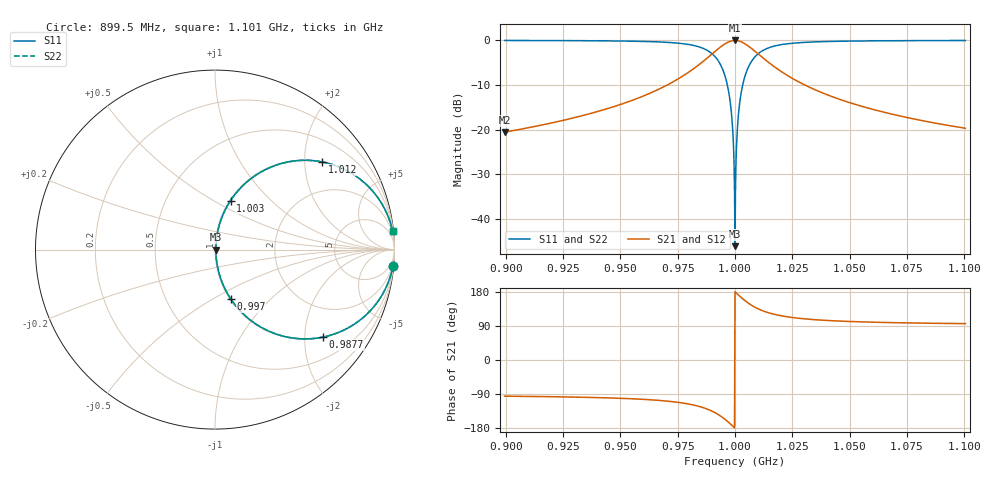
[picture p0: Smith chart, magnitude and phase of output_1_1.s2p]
! File generated for n1 = 1, n2 = 1
! b1 = 100.000000
! b2 = 100.000000
! Q0 = 10000.000000
! f0 = 1000000000.000000
! n = 1001
! rel_span = 10.000000
# Hz S RI R 50
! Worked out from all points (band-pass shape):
!   1001 points, 899.5 MHz to 1.101 GHz, reference 50 ohm
!   highest |S21| = -0.04 dB at 1 GHz (marker M1); lowest = -20.6 dB at 899.5 MHz (marker M2)
!   |S21| within 3 dB of the highest: 990 MHz to 1.01 GHz (20.05 MHz wide, 2.01 % of centre)
!   lowest |S11| = -46.1 dB at 1 GHz (marker M3), VSWR 1.01, Z = 50.5 + j0 ohm
!   |S11| at or under -10 dB: 996.7 MHz to 1.003 GHz (6.702 MHz wide, 0.67 % of centre)
!   |S22| runs from -46.1 to 0.0 dB; largest |S21 - S12| = 0
!   S11 on the Smith chart (normalised r, x): 899.5 MHz: 1, -21; 987.7 MHz: 1.01, -2.47; 997 MHz: 1.01, -0.60; 1.003 GHz: 1.01, +0.60; 1.012 GHz: 1.01, +2.44; 1.101 GHz: 1, +19
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8.995e8  0.9912 -0.0934  -0.00885 -0.0934  -0.00885 -0.0934  0.9912 -0.0934
9.33067e8  0.9795 -0.1413  -0.0205 -0.1413  -0.0205 -0.1413  0.9795 -0.1413
9.66634e8  0.9198 -0.2709  -0.0802 -0.2709  -0.0802 -0.2709  0.9198 -0.2709
9.79498e8  0.8104 -0.3907  -0.1896 -0.3907  -0.1896 -0.3907  0.8104 -0.3907
9.87739e8  0.6031 -0.4872  -0.3969 -0.4872  -0.3969 -0.4872  0.6031 -0.4872
9.93568e8  0.2954 -0.4524  -0.7046 -0.4524  -0.7046 -0.4524  0.2954 -0.4524
9.95578e8  0.167 -0.3673  -0.833 -0.3673  -0.833 -0.3673  0.167 -0.3673
9.96985e8  0.0874 -0.2742  -0.9126 -0.2742  -0.9126 -0.2742  0.0874 -0.2742
9.98191e8  0.0363 -0.1736  -0.9637 -0.1736  -0.9637 -0.1736  0.0363 -0.1736
9.98593e8  0.0241 -0.1367  -0.9759 -0.1367  -0.9759 -0.1367  0.0241 -0.1367
9.99196e8  0.0113 -0.0791  -0.9887 -0.0791  -0.9887 -0.0791  0.0113 -0.0791
1e9  0.00498 0  -0.995 0  -0.995 0  0.00498 0
1.000804e9  0.0113 0.0791  -0.9887 0.0791  -0.9887 0.0791  0.0113 0.0791
1.001407e9  0.0241 0.1365  -0.9759 0.1365  -0.9759 0.1365  0.0241 0.1365
1.001809e9  0.0361 0.1733  -0.9639 0.1733  -0.9639 0.1733  0.0361 0.1733
1.003015e9  0.0869 0.2735  -0.9131 0.2735  -0.9131 0.2735  0.0869 0.2735
1.006432e9  0.2928 0.4512  -0.7072 0.4512  -0.7072 0.4512  0.2928 0.4512
1.012261e9  0.5972 0.4884  -0.4028 0.4884  -0.4028 0.4884  0.5972 0.4884
1.020703e9  0.8071 0.3934  -0.1929 0.3934  -0.1929 0.3934  0.8071 0.3934
1.033567e9  0.9156 0.2772  -0.0844 0.2772  -0.0844 0.2772  0.9156 0.2772
1.067134e9  0.9768 0.1502  -0.0232 0.1502  -0.0232 0.1502  0.9768 0.1502
1.1005e9  0.9892 0.1031  -0.0108 0.1031  -0.0108 0.1031  0.9892 0.1031
